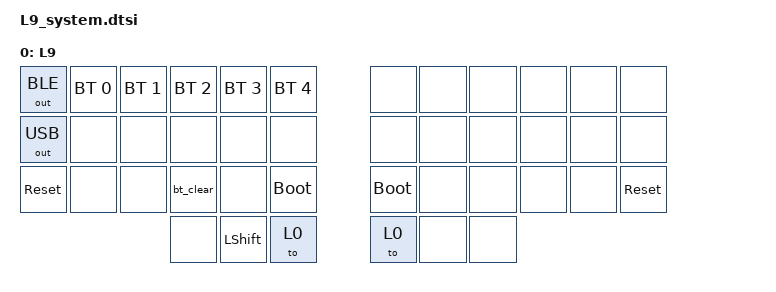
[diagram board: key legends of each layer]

/ {
  keymap {
    compatible = "zmk,keymap";

    l9_system {
      label = "L9";
      bindings = <
//  ╭────────────────┬────────────────┬────────────────┬────────────────┬────────────────┬────────────────╮    ╭────────────────┬────────────────┬────────────────┬────────────────┬────────────────┬────────────────╮
//  │0               │1               │2               │3               │4               │5               │    │6               │7               │8               │9               │10              │11              │
     &out OUT_BLE     &bt BT_SEL 0     &bt BT_SEL 1     &bt BT_SEL 2     &bt BT_SEL 3     &bt BT_SEL 4          &none            &none            &none            &none            &none            &none            
//  ├────────────────┼────────────────┼────────────────┼────────────────┼────────────────┼────────────────┤    ├────────────────┼────────────────┼────────────────┼────────────────┼────────────────┼────────────────┤
//  │12              │13              │14              │15              │16              │17              │    │18              │19              │20              │21              │22              │23              │
     &out OUT_USB     &none            &none            &none            &none            &none                 &none            &none            &none            &none            &none            &none            
//  ├────────────────┼────────────────┼────────────────┼────────────────┼────────────────┼────────────────┤    ├────────────────┼────────────────┼────────────────┼────────────────┼────────────────┼────────────────┤
//  │24              │25              │26              │27              │28              │29              │    │30              │31              │32              │33              │34              │35              │
     &sys_reset       &none            &none            &bt_clear        &none            &bootloader           &bootloader      &none            &none            &none            &none            &sys_reset       
//  ╰────────────────┴────────────────┴────────────────┼────────────────┼────────────────┼────────────────┤    ├────────────────┼────────────────┼────────────────┼────────────────┴────────────────┴────────────────╯
//                                                     │36              │37              │38              │    │39              │40              │41              │
                                                        &none            &kp LSHIFT       &to L0                &to L0           &none            &none            
//                                                     ╰────────────────┴────────────────┴────────────────╯    ╰────────────────┴────────────────┴────────────────╯
      >;
    };
  };
};
